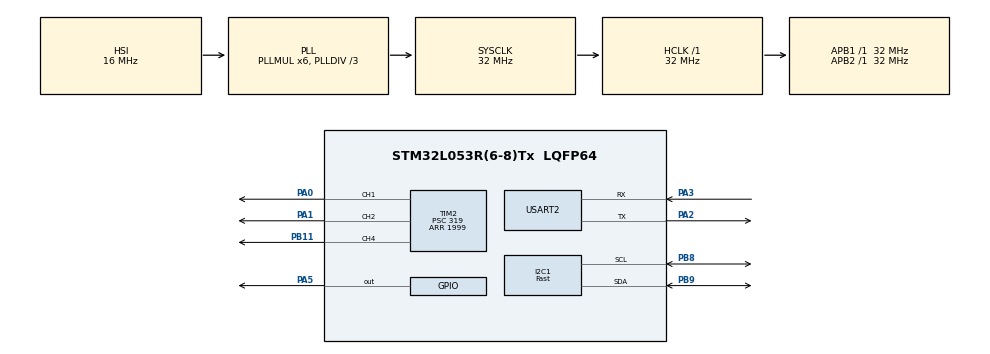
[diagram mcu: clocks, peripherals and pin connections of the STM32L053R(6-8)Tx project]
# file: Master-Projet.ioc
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FREERTOS.INCLUDE_vTaskDelayUntil=1
FREERTOS.Tasks01=defaultTask,0,128,StartDefaultTask,Default,NULL,Dynamic,NULL,NULL;I2CUART,1,128,I2Communication,Default,NULL,Dynamic,NULL,NULL;PWMCONTROL,2,128,PWM,Default,NULL,Dynamic,NULL,NULL
I2C1.I2C_Speed_Mode=I2C_Fast
I2C1.Timing=0x00300F38
Mcu.Family=STM32L0
Mcu.Name=STM32L053R(6-8)Tx
Mcu.Package=LQFP64
NVIC.I2C1_IRQn=true\:3\:0\:false\:false\:true\:true\:true
NVIC.TIM6_DAC_IRQn=true\:0\:0\:false\:false\:true\:false\:false
NVIC.TimeBase=TIM6_DAC_IRQn
NVIC.TimeBaseIP=TIM6
PA0.Signal=S_TIM2_CH1
PA1.Signal=S_TIM2_CH2
PA2.Mode=Asynchronous
PA2.Signal=USART2_TX
PA3.Mode=Asynchronous
PA3.Signal=USART2_RX
PA5.Signal=GPIO_Output
PB11.Signal=S_TIM2_CH4
PB8.GPIO_PuPdOD=GPIO_NOPULL
PB8.Mode=I2C
PB8.Signal=I2C1_SCL
PB9.GPIO_PuPdOD=GPIO_NOPULL
PB9.Mode=I2C
PB9.Signal=I2C1_SDA
PC14-OSC32_IN.Mode=LSE-External-Oscillator
PC14-OSC32_IN.Signal=RCC_OSC32_IN
PC15-OSC32_OUT.Mode=LSE-External-Oscillator
PC15-OSC32_OUT.Signal=RCC_OSC32_OUT
ProjectManager.HeapSize=0x200
ProjectManager.StackSize=0x400
ProjectManager.TargetToolchain=MDK-ARM V5
RCC.AHBFreq_Value=32000000
RCC.APB1Freq_Value=32000000
RCC.APB1TimFreq_Value=32000000
RCC.APB2Freq_Value=32000000
RCC.APB2TimFreq_Value=32000000
RCC.HCLKFreq_Value=32000000
RCC.HSE_VALUE=8000000
RCC.HSI16_VALUE=16000000
RCC.HSI48_VALUE=48000000
RCC.HSI_VALUE=16000000
RCC.MSI_VALUE=2097000
RCC.PLLDIV=RCC_PLLDIV_3
RCC.PLLMUL=RCC_PLLMUL_6
RCC.SYSCLKFreq_VALUE=32000000
RCC.SYSCLKSource=RCC_SYSCLKSOURCE_PLLCLK
RCC.VCOOutputFreq_Value=96000000
SH.S_TIM2_CH1.0=TIM2_CH1,PWM Generation1 CH1
SH.S_TIM2_CH2.0=TIM2_CH2,PWM Generation2 CH2
SH.S_TIM2_CH4.0=TIM2_CH4,PWM Generation4 CH4
TIM2.AutoReloadPreload=TIM_AUTORELOAD_PRELOAD_ENABLE
TIM2.Channel-PWM\ Generation1\ CH1=TIM_CHANNEL_1
TIM2.Channel-PWM\ Generation2\ CH2=TIM_CHANNEL_2
TIM2.Channel-PWM\ Generation4\ CH4=TIM_CHANNEL_4
TIM2.Period=1999
TIM2.Prescaler=319
TIM2.Pulse-PWM\ Generation1\ CH1=200
USART2.VirtualMode-Asynchronous=VM_ASYNC
VP_FREERTOS_VS_ENABLE.Mode=Enabled
VP_SYS_VS_tim6.Mode=TIM6
VP_TIM2_VS_ClockSourceINT.Mode=Internal
board=NUCLEO-L053R8

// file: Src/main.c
/* USER CODE BEGIN Header */
/**
  ******************************************************************************
  * @file           : main.c
  * @brief          : Main program body
  ******************************************************************************
  * This notice applies to any and all portions of this file
  * that are not between comment pairs USER CODE BEGIN and
  * USER CODE END. Other portions of this file, whether
  * inserted by the user or by software development tools
  * are owned by their respective copyright owners.
  *
  * Copyright (c) 2019 STMicroelectronics International N.V.
  * All rights reserved.
  *
  * Redistribution and use in source and binary forms, with or without
  * modification, are permitted, provided that the following conditions are met:
  *
  * 1. Redistribution of source code must retain the above copyright notice,
  *    this list of conditions and the following disclaimer.
  * 2. Redistributions in binary form must reproduce the above copyright notice,
  *    this list of conditions and the following disclaimer in the documentation
  *    and/or other materials provided with the distribution.
  * 3. Neither the name of STMicroelectronics nor the names of other
  *    contributors to this software may be used to endorse or promote products
  *    derived from this software without specific written permission.
  * 4. This software, including modifications and/or derivative works of this
  *    software, must execute solely and exclusively on microcontroller or
  *    microprocessor devices manufactured by or for STMicroelectronics.
  * 5. Redistribution and use of this software other than as permitted under
  *    this license is void and will automatically terminate your rights under
  *    this license.
  *
  * THIS SOFTWARE IS PROVIDED BY STMICROELECTRONICS AND CONTRIBUTORS "AS IS"
  * AND ANY EXPRESS, IMPLIED OR STATUTORY WARRANTIES, INCLUDING, BUT NOT
  * LIMITED TO, THE IMPLIED WARRANTIES OF MERCHANTABILITY, FITNESS FOR A
  * PARTICULAR PURPOSE AND NON-INFRINGEMENT OF THIRD PARTY INTELLECTUAL PROPERTY
  * RIGHTS ARE DISCLAIMED TO THE FULLEST EXTENT PERMITTED BY LAW. IN NO EVENT
  * SHALL STMICROELECTRONICS OR CONTRIBUTORS BE LIABLE FOR ANY DIRECT, INDIRECT,
  * INCIDENTAL, SPECIAL, EXEMPLARY, OR CONSEQUENTIAL DAMAGES (INCLUDING, BUT NOT
  * LIMITED TO, PROCUREMENT OF SUBSTITUTE GOODS OR SERVICES; LOSS OF USE, DATA,
  * OR PROFITS; OR BUSINESS INTERRUPTION) HOWEVER CAUSED AND ON ANY THEORY OF
  * LIABILITY, WHETHER IN CONTRACT, STRICT LIABILITY, OR TORT (INCLUDING
  * NEGLIGENCE OR OTHERWISE) ARISING IN ANY WAY OUT OF THE USE OF THIS SOFTWARE,
  * EVEN IF ADVISED OF THE POSSIBILITY OF SUCH DAMAGE.
  *
  ******************************************************************************
  */
/* USER CODE END Header */

#include "main.h"
#include "cmsis_os.h"

/* USER CODE BEGIN Includes */
#include <stdio.h>

/* USER CODE END Includes */

I2C_HandleTypeDef hi2c1;

TIM_HandleTypeDef htim2;

UART_HandleTypeDef huart2;

osThreadId defaultTaskHandle;
osThreadId I2CUARTHandle;
osThreadId PWMCONTROLHandle;
/* USER CODE BEGIN PV */
xSemaphoreHandle signal =0;
/* USER CODE END PV */

void SystemClock_Config(void);
static void MX_GPIO_Init(void);
static void MX_TIM2_Init(void);
static void MX_I2C1_Init(void);
static void MX_USART2_UART_Init(void);
void StartDefaultTask(void const * argument);
void I2Communication(void const * argument);
void PWM(void const * argument);

/* USER CODE BEGIN 0 */
#define SLAVEI2C_ADD 0x19 << 1 //Acces au registre du capteur
uint8_t OUT_X_H[1],OUT_X_L[1],OUT_Y_H[1],OUT_Y_L[1],OUT_Z_H[1],OUT_Z_L[1],data_rec[6];
int16_t x,y,z;
double xa,ya,za;
int16_t x_pwm=150;
int16_t y_pwm=130;
int16_t z_pwm=130;
char acelerations[30];

void LIS3DH_lectures_valeurs (uint8_t reg)
{
	HAL_I2C_Mem_Read (&hi2c1, SLAVEI2C_ADD, reg, 1, (uint8_t *)data_rec, 6, 100);//Lecture des données
}
void LIS3DH_ecriture (uint8_t reg, uint8_t value)
{
	uint8_t data[2];
	data[0] = reg;//Registre
	data[1] = value;//Valeur du registre a écrire
	HAL_I2C_Master_Transmit (&hi2c1, SLAVEI2C_ADD, data, 2, 100);
}

void initialisation_capteur ()
{
	LIS3DH_ecriture (0x23, 0x00);  // format +- 2g
	LIS3DH_ecriture (0x20, 0x47);  // X,Y,Z habilités, recuperation des donnes  50Hz  ([00100111]--Configuration 10Hz)
}

void verification_capteur (void)
{
	if(HAL_I2C_IsDeviceReady(&hi2c1,SLAVEI2C_ADD,10,100)==HAL_OK) //Acces au registre, il va essayer 10 fois avec un timeout egal a 100
		{
			HAL_GPIO_TogglePin(GPIOA,GPIO_PIN_5); //Vérifier si la communication avec le capteur fonctionne correctement.
		}
}
/* USER CODE END 0 */

int main(void)
{

  /* MCU Configuration--------------------------------------------------------*/

  /* Reset of all peripherals, Initializes the Flash interface and the Systick. */
  HAL_Init();

  /* Configure the system clock */
  SystemClock_Config();

  /* Initialize all configured peripherals */
  MX_GPIO_Init();
  MX_TIM2_Init();
  MX_I2C1_Init();
  MX_USART2_UART_Init();
  /* USER CODE BEGIN 2 */

	HAL_TIM_PWM_Start(&htim2, TIM_CHANNEL_1);
	HAL_TIM_PWM_Start(&htim2, TIM_CHANNEL_2);
	HAL_TIM_PWM_Start(&htim2, TIM_CHANNEL_4);
  initialisation_capteur();
	verification_capteur();
  /* USER CODE END 2 */

	vSemaphoreCreateBinary ( signal ) ;

  /* Create the thread(s) */
  /* definition and creation of defaultTask */
  osThreadDef(defaultTask, StartDefaultTask, osPriorityNormal, 0, 128);
  defaultTaskHandle = osThreadCreate(osThread(defaultTask), NULL);

  /* definition and creation of I2CUART */
  osThreadDef(I2CUART, I2Communication, osPriorityAboveNormal, 0, 128);
  I2CUARTHandle = osThreadCreate(osThread(I2CUART), NULL);

  /* definition and creation of PWMCONTROL */
  osThreadDef(PWMCONTROL, PWM, osPriorityHigh, 0, 128);
  PWMCONTROLHandle = osThreadCreate(osThread(PWMCONTROL), NULL);

  /* Start scheduler */
  osKernelStart();

  /* We should never get here as control is now taken by the scheduler */

  /* Infinite loop */
  while (1)
  {

  }
}

void SystemClock_Config(void)
{
  RCC_OscInitTypeDef RCC_OscInitStruct = {0};
  RCC_ClkInitTypeDef RCC_ClkInitStruct = {0};
  RCC_PeriphCLKInitTypeDef PeriphClkInit = {0};

  /**Configure the main internal regulator output voltage
  */
  __HAL_PWR_VOLTAGESCALING_CONFIG(PWR_REGULATOR_VOLTAGE_SCALE1);
  /**Initializes the CPU, AHB and APB busses clocks
  */
  RCC_OscInitStruct.OscillatorType = RCC_OSCILLATORTYPE_HSI;
  RCC_OscInitStruct.HSIState = RCC_HSI_ON;
  RCC_OscInitStruct.HSICalibrationValue = RCC_HSICALIBRATION_DEFAULT;
  RCC_OscInitStruct.PLL.PLLState = RCC_PLL_ON;
  RCC_OscInitStruct.PLL.PLLSource = RCC_PLLSOURCE_HSI;
  RCC_OscInitStruct.PLL.PLLMUL = RCC_PLLMUL_6;
  RCC_OscInitStruct.PLL.PLLDIV = RCC_PLLDIV_3;
  if (HAL_RCC_OscConfig(&RCC_OscInitStruct) != HAL_OK)
  {
    Error_Handler();
  }
  /**Initializes the CPU, AHB and APB busses clocks
  */
  RCC_ClkInitStruct.ClockType = RCC_CLOCKTYPE_HCLK|RCC_CLOCKTYPE_SYSCLK
                              |RCC_CLOCKTYPE_PCLK1|RCC_CLOCKTYPE_PCLK2;
  RCC_ClkInitStruct.SYSCLKSource = RCC_SYSCLKSOURCE_PLLCLK;
  RCC_ClkInitStruct.AHBCLKDivider = RCC_SYSCLK_DIV1;
  RCC_ClkInitStruct.APB1CLKDivider = RCC_HCLK_DIV1;
  RCC_ClkInitStruct.APB2CLKDivider = RCC_HCLK_DIV1;

  if (HAL_RCC_ClockConfig(&RCC_ClkInitStruct, FLASH_LATENCY_1) != HAL_OK)
  {
    Error_Handler();
  }
  PeriphClkInit.PeriphClockSelection = RCC_PERIPHCLK_USART2|RCC_PERIPHCLK_I2C1;
  PeriphClkInit.Usart2ClockSelection = RCC_USART2CLKSOURCE_PCLK1;
  PeriphClkInit.I2c1ClockSelection = RCC_I2C1CLKSOURCE_PCLK1;
  if (HAL_RCCEx_PeriphCLKConfig(&PeriphClkInit) != HAL_OK)
  {
    Error_Handler();
  }
}

static void MX_I2C1_Init(void)
{

  hi2c1.Instance = I2C1;
  hi2c1.Init.Timing = 0x00300F38;
  hi2c1.Init.OwnAddress1 = 0;
  hi2c1.Init.AddressingMode = I2C_ADDRESSINGMODE_7BIT;
  hi2c1.Init.DualAddressMode = I2C_DUALADDRESS_DISABLE;
  hi2c1.Init.OwnAddress2 = 0;
  hi2c1.Init.OwnAddress2Masks = I2C_OA2_NOMASK;
  hi2c1.Init.GeneralCallMode = I2C_GENERALCALL_DISABLE;
  hi2c1.Init.NoStretchMode = I2C_NOSTRETCH_DISABLE;
  if (HAL_I2C_Init(&hi2c1) != HAL_OK)
  {
    Error_Handler();
  }
  /**Configure Analogue filter
  */
  if (HAL_I2CEx_ConfigAnalogFilter(&hi2c1, I2C_ANALOGFILTER_ENABLE) != HAL_OK)
  {
    Error_Handler();
  }
  /**Configure Digital filter
  */
  if (HAL_I2CEx_ConfigDigitalFilter(&hi2c1, 0) != HAL_OK)
  {
    Error_Handler();
  }

}

static void MX_TIM2_Init(void)
{

  TIM_ClockConfigTypeDef sClockSourceConfig = {0};
  TIM_MasterConfigTypeDef sMasterConfig = {0};
  TIM_OC_InitTypeDef sConfigOC = {0};

  htim2.Instance = TIM2;
  htim2.Init.Prescaler = 319;
  htim2.Init.CounterMode = TIM_COUNTERMODE_UP;
  htim2.Init.Period = 1999;
  htim2.Init.ClockDivision = TIM_CLOCKDIVISION_DIV1;
  htim2.Init.AutoReloadPreload = TIM_AUTORELOAD_PRELOAD_ENABLE;
  if (HAL_TIM_Base_Init(&htim2) != HAL_OK)
  {
    Error_Handler();
  }
  sClockSourceConfig.ClockSource = TIM_CLOCKSOURCE_INTERNAL;
  if (HAL_TIM_ConfigClockSource(&htim2, &sClockSourceConfig) != HAL_OK)
  {
    Error_Handler();
  }
  if (HAL_TIM_PWM_Init(&htim2) != HAL_OK)
  {
    Error_Handler();
  }
  sMasterConfig.MasterOutputTrigger = TIM_TRGO_RESET;
  sMasterConfig.MasterSlaveMode = TIM_MASTERSLAVEMODE_DISABLE;
  if (HAL_TIMEx_MasterConfigSynchronization(&htim2, &sMasterConfig) != HAL_OK)
  {
    Error_Handler();
  }
  sConfigOC.OCMode = TIM_OCMODE_PWM1;
  sConfigOC.Pulse = 200;
  sConfigOC.OCPolarity = TIM_OCPOLARITY_HIGH;
  sConfigOC.OCFastMode = TIM_OCFAST_DISABLE;
  if (HAL_TIM_PWM_ConfigChannel(&htim2, &sConfigOC, TIM_CHANNEL_1) != HAL_OK)
  {
    Error_Handler();
  }
  sConfigOC.Pulse = 0;
  if (HAL_TIM_PWM_ConfigChannel(&htim2, &sConfigOC, TIM_CHANNEL_2) != HAL_OK)
  {
    Error_Handler();
  }
  if (HAL_TIM_PWM_ConfigChannel(&htim2, &sConfigOC, TIM_CHANNEL_4) != HAL_OK)
  {
    Error_Handler();
  }
  HAL_TIM_MspPostInit(&htim2);

}

static void MX_USART2_UART_Init(void)
{

  huart2.Instance = USART2;
  huart2.Init.BaudRate = 115200;
  huart2.Init.WordLength = UART_WORDLENGTH_8B;
  huart2.Init.StopBits = UART_STOPBITS_1;
  huart2.Init.Parity = UART_PARITY_NONE;
  huart2.Init.Mode = UART_MODE_TX_RX;
  huart2.Init.HwFlowCtl = UART_HWCONTROL_NONE;
  huart2.Init.OverSampling = UART_OVERSAMPLING_16;
  huart2.Init.OneBitSampling = UART_ONE_BIT_SAMPLE_DISABLE;
  huart2.AdvancedInit.AdvFeatureInit = UART_ADVFEATURE_NO_INIT;
  if (HAL_UART_Init(&huart2) != HAL_OK)
  {
    Error_Handler();
  }

}

static void MX_GPIO_Init(void)
{
  GPIO_InitTypeDef GPIO_InitStruct = {0};

  /* GPIO Ports Clock Enable */
  __HAL_RCC_GPIOC_CLK_ENABLE();
  __HAL_RCC_GPIOA_CLK_ENABLE();
  __HAL_RCC_GPIOB_CLK_ENABLE();

  /*Configure GPIO pin Output Level */
  HAL_GPIO_WritePin(GPIOA, GPIO_PIN_5, GPIO_PIN_RESET);

  /*Configure GPIO pin : PA5 */
  GPIO_InitStruct.Pin = GPIO_PIN_5;
  GPIO_InitStruct.Mode = GPIO_MODE_OUTPUT_PP;
  GPIO_InitStruct.Pull = GPIO_NOPULL;
  GPIO_InitStruct.Speed = GPIO_SPEED_FREQ_LOW;
  HAL_GPIO_Init(GPIOA, &GPIO_InitStruct);

}

void StartDefaultTask(void const * argument)
{

  for(;;)
  {
    osDelay(1);
  }
}

void I2Communication(void const * argument)
{
  /* USER CODE BEGIN I2Communication */

	TickType_t xLastWakeTime;
	xLastWakeTime = xTaskGetTickCount(); /* La variable xLastWakeTime doit être initialisée avec le nombre de ticks courant. C'est la seule fois où la variable est écrite explicitement. Après cela, xLastWakeTime est automatiquement mis à jour dans vTaskDelayUntil(). */

  /* Infinite loop */
  for(;;)
  {
		HAL_I2C_Mem_Read (&hi2c1, SLAVEI2C_ADD,0x28, 1,(uint8_t *)OUT_X_L, 1, 100); // Registre OUT_X_L
		HAL_I2C_Mem_Read (&hi2c1, SLAVEI2C_ADD,0x29, 1,(uint8_t *)OUT_X_H, 1, 100); // Registre OUT_X_H
		HAL_I2C_Mem_Read (&hi2c1, SLAVEI2C_ADD,0x2A, 1,(uint8_t *)OUT_Y_L, 1, 100); // Registre OUT_Y_L
		HAL_I2C_Mem_Read (&hi2c1, SLAVEI2C_ADD,0x2B, 1,(uint8_t *)OUT_Y_H, 1, 100); // Registre OUT_Y_H
		HAL_I2C_Mem_Read (&hi2c1, SLAVEI2C_ADD,0x2C, 1,(uint8_t *)OUT_Z_L, 1, 100); // Registre OUT_Z_L
		HAL_I2C_Mem_Read (&hi2c1, SLAVEI2C_ADD,0x2D, 1,(uint8_t *)OUT_Z_H, 1, 100); // Registre OUT_Z_H
		x = ((OUT_X_H[0]<<8)|OUT_X_L[0]); // Integration des deux complements
		y = ((OUT_Y_H[0]<<8)|OUT_Y_L[0]); // Integration des deux complements
		z = ((OUT_Z_H[0]<<8)|OUT_Z_L[0]); // Integration des deux complements

		xSemaphoreGive(signal);

		HAL_UART_Transmit(&huart2, (uint8_t*)acelerations, sprintf(acelerations, "%d,%d,%d\n", x,y,z),10);
		/* Cette tâche doit être exécutée toutes les 150 millisecondes exactement. Selon la fonction vTaskDelay(), le temps est mesuré en ticks, et la macro pdMS_TO_TICKS() est utilisée pour convertir les millisecondes en ticks. xLastWakeTime est automatiquement mis à jour dans vTaskDelayUntil(), n'est donc pas explicitement mis à jour par la tâche. */
    vTaskDelayUntil( &xLastWakeTime, pdMS_TO_TICKS( 150 ) );
  }
  /* USER CODE END I2Communication */
}

void PWM(void const * argument)
{
  /* USER CODE BEGIN PWM */
  /* Infinite loop */
  for(;;)
  {
		if (xSemaphoreTake(signal,portMAX_DELAY))
			{
				xa=x*.0000591;
				ya=y*.0000589;
				za=z*.0000522; //110

				x_pwm=150+xa*100;
				y_pwm=130+ya*85;
				z_pwm=130+za*90; //110

				if(x_pwm<50)
					x_pwm=50;
				else if(x_pwm>250)
					x_pwm=250;

				if(y_pwm<45)
					y_pwm=45;
				else if(y_pwm>215)
					y_pwm=215;

				if(z_pwm<130)
					z_pwm=130;
				else if(z_pwm>220)
					z_pwm=220;

				TIM2->CCR1=x_pwm;
				TIM2->CCR2=y_pwm;
				TIM2->CCR4=z_pwm;
		}
		osDelay(10);
  }
  /* USER CODE END PWM */
}

void HAL_TIM_PeriodElapsedCallback(TIM_HandleTypeDef *htim)
{
  if (htim->Instance == TIM6) {
    HAL_IncTick();
  }
}

void Error_Handler(void)
{
}

/************************ (C) COPYRIGHT STMicroelectronics *****END OF FILE****/
